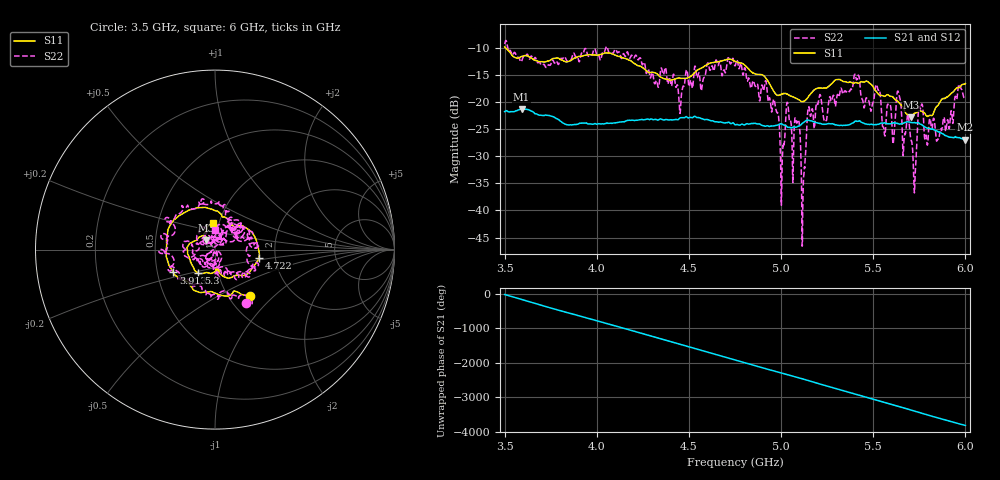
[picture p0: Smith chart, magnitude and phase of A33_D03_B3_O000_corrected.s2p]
! Created with skrf 1.9.0 (http://scikit-rf.org).
# Hz S RI R 50.0
!freq ReS11 ImS11 ReS21 ImS21 ReS12 ImS12 ReS22 ImS22
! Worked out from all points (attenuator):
!   1601 points, 3.5 GHz to 6 GHz, reference 50 ohm
!   highest |S21| = -21.30 dB at 3.592 GHz (marker M1); lowest = -26.9 dB at 5.997 GHz (marker M2)
!   lowest |S11| = -22.8 dB at 5.705 GHz (marker M3), VSWR 1.16, Z = 45 + j4.76 ohm
!   |S11| at or under -10 dB: 3.507 GHz to end of sweep
!   |S22| runs from -46.6 to -8.6 dB; largest |S21 - S12| = 0.00092
!   S11 on the Smith chart (normalised r, x): 3.5 GHz: 1.25, -0.72; 3.913 GHz: 0.61, -0.17; 4.722 GHz: 1.64, -0.17; 5.3 GHz: 0.80, -0.22; 6 GHz: 0.94, +0.29
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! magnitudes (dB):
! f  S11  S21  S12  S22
! 3.5 GHz  -9.8  -21.7  -21.7  -9.3
! 3.592 GHz  -11.6  -21.3  -21.3  -12.4
! 3.913 GHz  -11.5  -23.9  -23.8  -11.5
! 3.917 GHz  -11.5  -23.9  -23.9  -11.0
! 4.334 GHz  -15.1  -23.3  -23.2  -17.3
! 4.722 GHz  -12.1  -23.8  -23.8  -12.8
! 4.75 GHz  -12.4  -24.2  -24.1  -13.3
! 4.969 GHz  -18.4  -24.3  -24.3  -20.8
! 5.006 GHz  -18.5  -24.1  -24.0  -30.9
! 5.034 GHz  -18.5  -24.6  -24.5  -20.1
! 5.088 GHz  -19.4  -24.5  -24.5  -23.7
! 5.12 GHz  -19.9  -23.8  -23.7  -35.5
! 5.145 GHz  -19.1  -23.3  -23.3  -21.5
! 5.167 GHz  -18.2  -23.5  -23.5  -21.3
! 5.3 GHz  -15.9  -24.2  -24.2  -19.7
! 5.584 GHz  -18.7  -24.0  -23.9  -20.4
! 5.705 GHz  -22.8  -23.8  -23.7  -26.9
! 5.723 GHz  -22.1  -23.8  -23.7  -36.8
! 5.756 GHz  -21.6  -24.1  -24.0  -21.3
! 5.85 GHz  -20.6  -25.4  -25.3  -26.8
! 5.997 GHz  -16.7  -26.9  -26.9  -19.4
! 6 GHz  -16.6  -26.9  -26.9  -19.3
